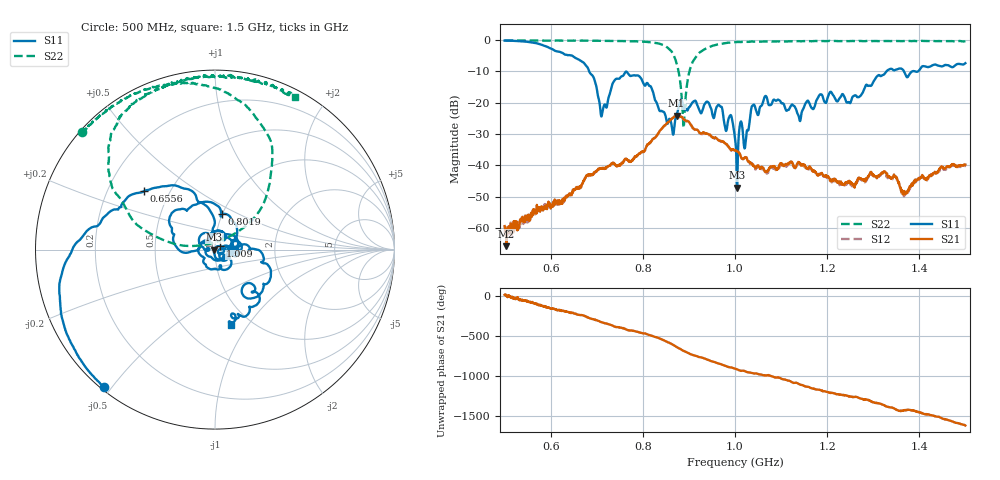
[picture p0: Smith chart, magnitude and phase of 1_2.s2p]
!Agilent Technologies,E8364B,US42250235,A.06.04.32
!Agilent E8364B: A.06.04.32
!Date: Friday, January 15, 2021 12:05:30
!Correction: S11(Full 2 Port(1,2)) S21(Full 2 Port(1,2)) S12(Full 2 Port(1,2)) S22(Full 2 Port(1,2))
!S2P File: Measurements: S11, S21, S12, S22:
# Hz S  dB  R 50
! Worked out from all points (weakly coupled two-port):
!   1601 points, 500 MHz to 1.5 GHz, reference 50 ohm
!   highest |S21| = -24.08 dB at 873.1 MHz (marker M1); lowest = -65.8 dB at 503.8 MHz (marker M2)
!   lowest |S11| = -47.1 dB at 1.004 GHz (marker M3), VSWR 1.01, Z = 49.6 - j0.0143 ohm
!   |S11| at or under -10 dB: 683.6 MHz to 1.329 GHz (645 MHz wide, 64.1 % of centre); 1.367 GHz to 1.384 GHz (17.29 MHz wide, 1.26 % of centre); 1.391513 GHz to 1.396942 GHz (5.429 MHz wide, 0.389 % of centre)
!   |S22| runs from -28.0 to -0.1 dB; largest |S21 - S12| = 0.0026
!   S11 on the Smith chart (normalised r, x): 500 MHz: 0.01, -0.48; 655.6 MHz: 0.36, +0.32; 801.9 MHz: 0.99, +0.41; 1.009 GHz: 1.06, +0.04; 1.5 GHz: 0.81, -0.83
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5e8  -0.13 -128.9  -59.34 16.0  -60.24 13.4  -0.12 138.6
5.0375e8  -0.15 -130.5  -65.75 12.2  -61.97 2.6  -0.12 138.5
5.71875e8  -1.09 -168.4  -53.84 -109.0  -54.04 -105.0  -0.14 131.9
6.55625e8  -5.79 140.7  -47.27 134.5  -46.86 134.5  -0.17 123.8
6.66875e8  -6.71 130.5  -46.21 122.9  -46.63 123.9  -0.15 122.1
7.1125e8  -23.85 140.8  -40.76 32.4  -40.96 33.7  -0.21 117.1
7.6125e8  -10.36 147.5  -37.87 -50.1  -38.12 -47.9  -0.32 109.2
8.01875e8  -13.96 79.5  -35.52 -107.0  -35.70 -105.3  -0.52 99.4
8.3375e8  -21.63 12.7  -29.72 -162.8  -29.78 -161.6  -1.06 86.9
8.73125e8  -23.77 171.3  -24.08 84.0  -24.22 85.6  -7.35 47.2
8.8875e8  -21.65 109.2  -25.27 33.8  -25.32 35.0  -27.95 116.0
9.175e8  -20.52 51.9  -28.54 -32.5  -28.87 -31.2  -4.93 153.6
9.675e8  -21.03 -28.1  -32.09 -128.1  -32.22 -127.5  -1.22 131.6
9.925e8  -24.44 -70.1  -34.95 -173.3  -35.09 -172.6  -0.78 123.8
1e9  -31.17 -95.4  -35.13 172.1  -34.98 175.6  -0.67 121.2
1.004375e9  -47.07 -178.1  -35.47 164.4  -35.44 166.2  -0.61 120.5
1.00875e9  -29.31 33.5  -36.00 153.3  -36.07 156.5  -0.62 120.1
1.065625e9  -17.90 -51.0  -42.11 85.9  -42.26 86.7  -0.43 109.6
1.166875e9  -21.72 51.3  -41.20 -73.4  -41.38 -68.9  -0.34 97.7
1.33375e9  -9.39 -22.9  -43.43 52.9  -44.33 55.2  -0.30 80.8
1.36875e9  -10.59 -58.3  -49.20 14.7  -48.93 16.5  -0.27 76.2
1.5e9  -7.35 -78.1  -39.74 -178.5  -40.10 -176.6  -0.37 62.4
